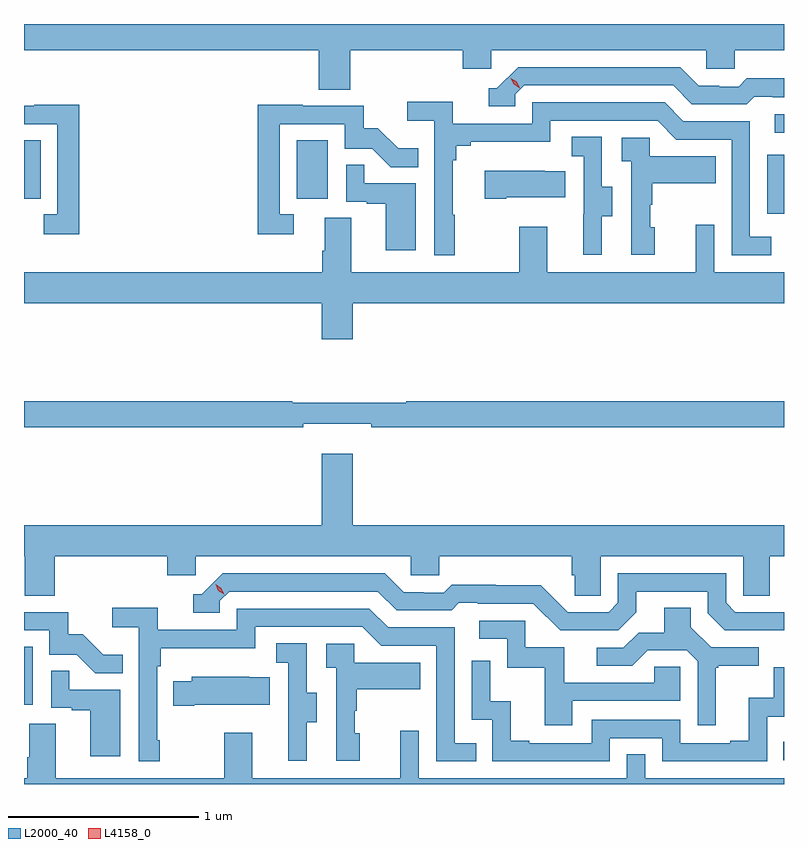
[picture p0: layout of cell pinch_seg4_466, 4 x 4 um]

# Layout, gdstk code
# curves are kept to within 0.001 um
import gdstk
lib = gdstk.Library(unit=1e-6, precision=1e-09)
def R(c, l, rs):  # rectangles x0, y0, x1, y1
    for r in rs: c.add(gdstk.rectangle(r[:2], r[2:], *l))
def P(c, l, *ps):  # polygons
    for p in ps: c.add(gdstk.Polygon(p, *l))
L2000_40 = (2000, 40)
L4158_0 = (4158, 0)

pinch_seg4_466 = lib.new_cell('pinch_seg4_466')
R(pinch_seg4_466, L2000_40, [(934.669,761.115,934.673,761.212), (930.673,761.406,930.718,761.713), (934.584,763.992,934.673,764.302), (930.673,764.07,930.76,764.377), (932.108,764.07,932.272,764.377), (934.623,764.418,934.673,764.514)])
P(pinch_seg4_466, L2000_40, [(932.39,764.852),(932.981,764.852),(932.981,764.754),(933.132,764.754),(933.132,764.852),(934.263,764.852),(934.263,764.754),(934.413,764.754),(934.413,764.852),(934.673,764.852),(934.673,764.99),(930.673,764.99),(930.673,764.852),(932.225,764.852),(932.225,764.644),(932.39,764.644)],
  [(933.258,764.619),(933.306,764.667),(934.089,764.667),(934.188,764.568),(934.477,764.568),(934.516,764.607),(934.615,764.607),(934.615,764.604),(934.673,764.604),(934.673,764.704),(934.477,764.704),(934.435,764.661),(934.332,764.661),(934.332,764.664),(934.225,764.664),(934.126,764.763),(933.273,764.763),(933.162,764.652),(933.119,764.652),(933.119,764.556),(933.258,764.556)],
  [(932.941,763.985),(932.929,763.985),(932.929,764.273),(932.948,764.273),(932.948,764.35),(933.025,764.35),(933.025,764.369),(933.444,764.369),(933.444,764.481),(934.008,764.481),(934.107,764.382),(934.398,764.382),(934.398,763.773),(934.607,763.773),(934.607,763.869),(934.494,763.869),(934.494,764.478),(934.144,764.478),(934.045,764.577),(933.348,764.577),(933.348,764.466),(932.93,764.466),(932.93,764.582),(932.691,764.582),(932.691,764.48),(932.832,764.48),(932.832,763.773),(932.941,763.773)],
  [(930.965,764.564),(930.727,764.564),(930.727,764.559),(930.673,764.559),(930.673,764.463),(930.849,764.463),(930.849,763.989),(930.777,763.989),(930.777,763.884),(930.965,763.884)],
  [(932.092,763.989),(932.019,763.989),(932.019,764.463),(932.361,764.463),(932.361,764.334),(932.505,764.334),(932.603,764.236),(932.747,764.236),(932.747,764.335),(932.643,764.335),(932.536,764.442),(932.46,764.442),(932.46,764.559),(932.141,764.559),(932.141,764.564),(931.903,764.564),(931.903,763.884),(932.092,763.884)],
  [(933.715,763.978),(933.769,763.978),(933.769,764.133),(933.714,764.133),(933.714,764.396),(933.555,764.396),(933.555,764.293),(933.618,764.293),(933.618,763.989),(933.617,763.989),(933.617,763.776),(933.715,763.776)],
  [(933.994,763.92),(933.969,763.92),(933.969,764.039),(933.979,764.039),(933.979,764.153),(934.313,764.153),(934.313,764.293),(933.966,764.293),(933.966,764.391),(933.819,764.391),(933.819,764.267),(933.87,764.267),(933.87,763.776),(933.994,763.776)],
  [(932.734,764.151),(932.465,764.151),(932.465,764.249),(932.37,764.249),(932.37,764.055),(932.477,764.055),(932.477,764.043),(932.576,764.043),(932.576,763.8),(932.734,763.8)],
  [(933.211,764.078),(933.521,764.078),(933.521,764.215),(933.413,764.215),(933.413,764.218),(933.099,764.218),(933.099,764.071),(933.211,764.071)],
  [(932.255,763.97),(932.255,763.796),(932.243,763.796),(932.243,763.684),(930.673,763.684),(930.673,763.52),(932.24,763.52),(932.24,763.332),(932.404,763.332),(932.404,763.52),(934.673,763.52),(934.673,763.684),(934.305,763.684),(934.305,763.933),(934.208,763.933),(934.208,763.684),(933.427,763.684),(933.427,763.924),(933.28,763.924),(933.28,763.684),(932.395,763.684),(932.395,763.97)],
  [(932.144,762.887),(932.5,762.887),(932.5,762.868),(934.673,762.868),(934.673,763.004),(932.686,763.004),(932.686,762.997),(932.086,762.997),(932.086,763.004),(930.673,763.004),(930.673,762.868),(932.144,762.868)],
  [(930.836,762.188),(931.427,762.188),(931.427,762.09),(931.578,762.09),(931.578,762.188),(932.709,762.188),(932.709,762.09),(932.859,762.09),(932.859,762.188),(933.557,762.188),(933.557,762.09),(933.571,762.09),(933.571,761.98),(933.708,761.98),(933.708,762.188),(934.458,762.188),(934.458,761.98),(934.597,761.98),(934.597,762.188),(934.673,762.188),(934.673,762.352),(932.404,762.352),(932.404,762.727),(932.24,762.727),(932.24,762.352),(930.673,762.352),(930.673,762.188),(930.676,762.188),(930.676,761.98),(930.836,761.98)],
  [(934.673,761.895),(934.416,761.895),(934.368,761.943),(934.368,762.099),(933.798,762.099),(933.798,761.943),(933.75,761.895),(933.534,761.895),(933.392,762.037),(933.156,762.037),(933.156,762.04),(932.923,762.04),(932.881,761.997),(932.778,761.997),(932.778,762),(932.671,762),(932.572,762.099),(931.719,762.099),(931.608,761.988),(931.565,761.988),(931.565,761.892),(931.704,761.892),(931.704,761.955),(931.752,762.003),(932.535,762.003),(932.634,761.904),(932.923,761.904),(932.962,761.943),(933.061,761.943),(933.061,761.94),(933.354,761.94),(933.495,761.799),(933.801,761.799),(933.895,761.893),(933.895,762.003),(934.272,762.003),(934.272,761.889),(934.362,761.799),(934.673,761.798)],
  [(931.387,761.221),(931.374,761.221),(931.374,761.609),(931.394,761.609),(931.394,761.705),(931.89,761.705),(931.89,761.817),(932.454,761.817),(932.553,761.718),(932.844,761.718),(932.844,761.109),(933.053,761.109),(933.053,761.205),(932.94,761.205),(932.94,761.814),(932.59,761.814),(932.491,761.913),(931.794,761.913),(931.794,761.802),(931.376,761.802),(931.376,761.918),(931.137,761.918),(931.137,761.816),(931.278,761.816),(931.278,761.109),(931.387,761.109)],
  [(934.315,761.601),(934.327,761.601),(934.327,761.612),(934.54,761.612),(934.54,761.709),(934.29,761.709),(934.183,761.816),(934.183,761.918),(934.043,761.918),(934.043,761.786),(933.908,761.786),(933.828,761.706),(933.687,761.706),(933.687,761.613),(933.874,761.613),(933.955,761.694),(934.161,761.694),(934.218,761.637),(934.218,761.298),(934.315,761.298)],
  [(931.193,761.671),(931.089,761.671),(930.982,761.778),(930.906,761.778),(930.906,761.895),(930.673,761.895),(930.673,761.799),(930.807,761.799),(930.807,761.67),(930.951,761.67),(931.049,761.572),(931.193,761.572)],
  [(933.559,761.427),(934.128,761.427),(934.128,761.607),(933.991,761.607),(933.991,761.523),(933.517,761.523),(933.517,761.709),(933.312,761.709),(933.312,761.85),(933.069,761.85),(933.069,761.754),(933.216,761.754),(933.216,761.601),(933.415,761.601),(933.415,761.298),(933.559,761.298)],
  [(932.161,761.314),(932.215,761.314),(932.215,761.469),(932.16,761.469),(932.16,761.732),(932.001,761.732),(932.001,761.629),(932.064,761.629),(932.064,761.325),(932.063,761.325),(932.063,761.112),(932.161,761.112)],
  [(932.44,761.256),(932.415,761.256),(932.415,761.375),(932.425,761.375),(932.425,761.489),(932.759,761.489),(932.759,761.629),(932.412,761.629),(932.412,761.727),(932.265,761.727),(932.265,761.603),(932.316,761.603),(932.316,761.112),(932.44,761.112)],
  [(933.756,761.232),(934.032,761.232),(934.032,761.109),(934.584,761.109),(934.584,761.345),(934.673,761.345),(934.673,761.604),(934.62,761.604),(934.62,761.443),(934.487,761.443),(934.487,761.218),(934.391,761.218),(934.391,761.205),(934.128,761.205),(934.128,761.328),(933.66,761.328),(933.66,761.205),(933.331,761.205),(933.331,761.218),(933.236,761.218),(933.236,761.426),(933.126,761.426),(933.126,761.638),(933.03,761.638),(933.03,761.328),(933.138,761.328),(933.138,761.109),(933.756,761.109)],
  [(931.18,761.487),(930.911,761.487),(930.911,761.585),(930.816,761.585),(930.816,761.391),(930.923,761.391),(930.923,761.379),(931.022,761.379),(931.022,761.136),(931.18,761.136)],
  [(931.57,761.408),(931.967,761.408),(931.967,761.551),(931.859,761.551),(931.859,761.554),(931.557,761.554),(931.557,761.53),(931.459,761.53),(931.459,761.401),(931.57,761.401)],
  [(932.654,761.269),(932.654,761.02),(931.873,761.02),(931.873,761.26),(931.726,761.26),(931.726,761.02),(930.841,761.02),(930.841,761.306),(930.701,761.306),(930.701,761.132),(930.689,761.132),(930.689,761.02),(930.673,761.02),(930.673,760.99),(934.673,760.99),(934.673,761.02),(933.942,761.02),(933.942,761.147),(933.846,761.147),(933.846,761.02),(932.751,761.02),(932.751,761.269)])
P(pinch_seg4_466, L4158_0, [(931.727,761.988),(931.696,762.008),(931.681,762.041),(931.681,762.041),(931.681,762.041),(931.711,762.021),(931.727,761.988),(931.727,761.988)],
  [(933.282,764.653),(933.251,764.672),(933.235,764.705),(933.235,764.705),(933.235,764.705),(933.266,764.686),(933.283,764.653),(933.283,764.653)])

lib.write_gds('pinch_seg4_466.gds')
